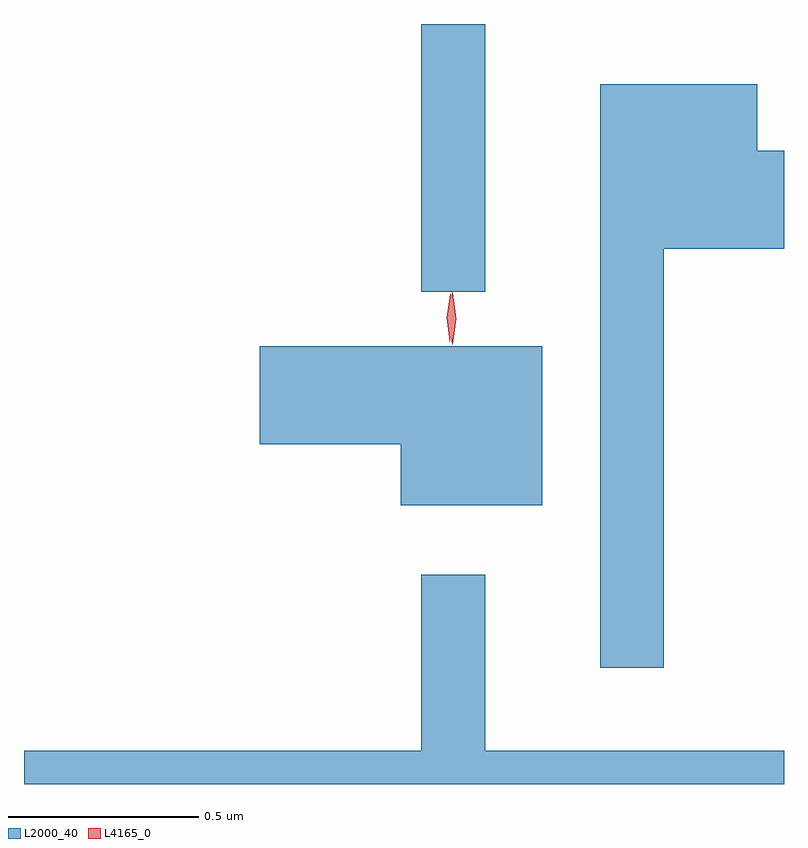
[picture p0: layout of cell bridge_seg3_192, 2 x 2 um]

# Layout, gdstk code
import gdstk
lib = gdstk.Library(unit=1e-6, precision=1e-09)
def R(c, l, rs):  # rectangles x0, y0, x1, y1
    for r in rs: c.add(gdstk.rectangle(r[:2], r[2:], *l))
def P(c, l, *ps):  # polygons
    for p in ps: c.add(gdstk.Polygon(p, *l))
L2000_40 = (2000, 40)
L4165_0 = (4165, 0)

bridge_seg3_192 = lib.new_cell('bridge_seg3_192')
R(bridge_seg3_192, L2000_40, [(789.961,1180.773,790.129,1181.477)])
P(bridge_seg3_192, L2000_40, [(790.599,1180.886),(790.915,1180.886),(790.915,1181.144),(790.844,1181.144),(790.844,1181.319),(790.431,1181.319),(790.431,1179.783),(790.599,1179.783)],
  [(790.279,1180.629),(789.536,1180.629),(789.536,1180.371),(789.906,1180.371),(789.906,1180.211),(790.279,1180.211)],
  [(790.915,1179.564),(790.129,1179.564),(790.129,1180.028),(789.961,1180.028),(789.961,1179.564),(788.915,1179.564),(788.915,1179.477),(790.915,1179.477)])
P(bridge_seg3_192, L4165_0, [(790.042,1180.634),(790.033,1180.702),(790.042,1180.77),(790.043,1180.77),(790.043,1180.77),(790.053,1180.702),(790.043,1180.634),(790.043,1180.634)],
  [(790.036,1180.64),(790.036,1180.641),(790.027,1180.704),(790.037,1180.766),(790.038,1180.767),(790.038,1180.766),(790.047,1180.704),(790.036,1180.641)])

lib.write_gds('bridge_seg3_192.gds')
